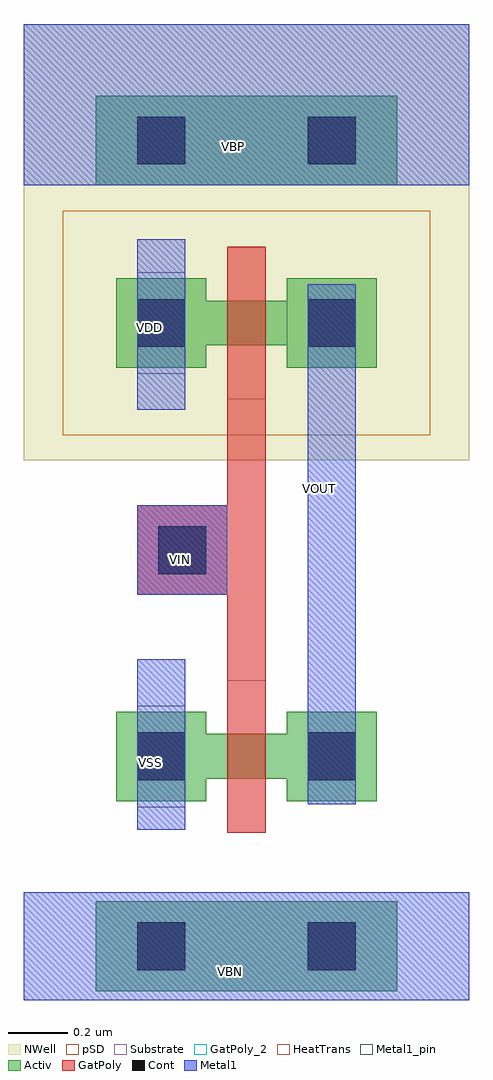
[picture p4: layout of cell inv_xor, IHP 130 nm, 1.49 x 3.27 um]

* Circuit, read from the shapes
.subckt inv_xor VBN VBP VDD VIN VOUT VSS
XM1 VOUT VIN VSS VBN sg13_lv_nmos w=0.15u l=0.13u
XM2 VOUT VIN VDD VBP sg13_lv_pmos w=0.15u l=0.13u
.ends

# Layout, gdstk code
import gdstk
lib = gdstk.Library(unit=1e-6, precision=5e-09)
def R(c, l, rs):  # rectangles x0, y0, x1, y1
    for r in rs: c.add(gdstk.rectangle(r[:2], r[2:], *l))
Activ = (1, 0)
GatPoly = (5, 0)
GatPoly_2 = (5, 2)
Cont = (6, 0)
Metal1 = (8, 0)
Metal1_pin = (8, 2)
pSD = (14, 0)
NWell = (31, 0)
Substrate = (40, 0)
HeatTrans = (51, 0)

nmos_4_9 = lib.new_cell('nmos$4$9')
R(nmos_4_9, Activ, [(0,0,0.3,0.3), (0.57,0,0.87,0.3), (0,0.075,0.87,0.225)])
R(nmos_4_9, GatPoly, [(0.37,-0.105,0.5,0.405)])
R(nmos_4_9, GatPoly_2, [(0.37,-0.105,0.5,0.405)])
R(nmos_4_9, Cont, [(0.07,0.07,0.23,0.23), (0.64,0.07,0.8,0.23)])
R(nmos_4_9, Metal1, [(0.07,0.02,0.23,0.28), (0.64,0.02,0.8,0.28)])
R(nmos_4_9, Metal1_pin, [(0.07,0.02,0.23,0.28), (0.64,0.02,0.8,0.28)])
R(nmos_4_9, HeatTrans, [(0.37,-0.105,0.5,0.405)])
nmos_4_9.add(gdstk.Label('nmos', (0.435,0.15), layer=63, texttype=0))
nmos_4_9.add(gdstk.Label('nmos', (0.435,0.15), layer=51, texttype=0))

pmos_3_1_1 = lib.new_cell('pmos$3$1$1')
R(pmos_3_1_1, Activ, [(0,0,0.3,0.3), (0.57,0,0.87,0.3), (0,0.075,0.87,0.225)])
R(pmos_3_1_1, GatPoly, [(0.37,-0.105,0.5,0.405), (0.37,-0.105,0.5,0.405)])
R(pmos_3_1_1, Cont, [(0.07,0.07,0.23,0.23), (0.64,0.07,0.8,0.23)])
R(pmos_3_1_1, Metal1, [(0.07,0.02,0.23,0.28), (0.07,0.02,0.23,0.28), (0.64,0.02,0.8,0.28), (0.64,0.02,0.8,0.28)])
R(pmos_3_1_1, pSD, [(-0.18,-0.225,1.05,0.525)])
R(pmos_3_1_1, NWell, [(-0.31,-0.31,1.18,0.61)])
R(pmos_3_1_1, Substrate, [(0.57,0,0.87,0.3)])
R(pmos_3_1_1, HeatTrans, [(0.37,-0.105,0.5,0.405)])
pmos_3_1_1.add(gdstk.Label('pmos', (0.435,0.15), layer=63, texttype=0))
pmos_3_1_1.add(gdstk.Label('pmos', (0.435,0.15), layer=51, texttype=0))

inv_xor = lib.new_cell('inv_xor')
R(inv_xor, Activ, [(1.29,-0.04,2.3,0.26), (1.29,-0.04,2.3,0.26), (1.29,-0.04,2.3,0.26), (1.29,-0.04,2.3,0.26), (1.29,2.655,2.3,2.955), (1.29,2.655,2.3,2.955), (1.29,2.655,2.3,2.955), (1.29,2.655,2.3,2.955)])
R(inv_xor, GatPoly, [(1.73,0.49,1.86,2.45), (1.73,0.49,1.86,2.45), (1.73,0.49,1.86,2.45), (1.73,0.49,1.86,2.45), (1.43,1.285,1.73,1.585), (1.43,1.285,1.73,1.585), (1.43,1.285,1.73,1.585), (1.43,1.285,1.73,1.585)])
R(inv_xor, Cont, [(1.43,0.03,1.59,0.19), (1.43,0.03,1.59,0.19), (1.43,0.03,1.59,0.19), (1.43,0.03,1.59,0.19), (2,0.03,2.16,0.19), (2,0.03,2.16,0.19), (2,0.03,2.16,0.19), (2,0.03,2.16,0.19), (1.5,1.355,1.66,1.515), (1.5,1.355,1.66,1.515), (1.5,1.355,1.66,1.515), (1.5,1.355,1.66,1.515), (1.43,2.725,1.59,2.885), (1.43,2.725,1.59,2.885), (1.43,2.725,1.59,2.885), (1.43,2.725,1.59,2.885), (2,2.725,2.16,2.885), (2,2.725,2.16,2.885), (2,2.725,2.16,2.885), (2,2.725,2.16,2.885)])
R(inv_xor, Metal1, [(1.05,-0.07,2.54,0.29), (1.05,-0.07,2.54,0.29), (1.05,-0.07,2.54,0.29), (1.05,-0.07,2.54,0.29), (1.43,0.5,1.59,1.07), (1.43,0.5,1.59,1.07), (1.43,0.5,1.59,1.07), (1.43,0.5,1.59,1.07), (2,0.585,2.16,2.325), (2,0.585,2.16,2.325), (2,0.615,2.16,2.325), (2,0.615,2.16,2.325), (1.43,1.285,1.73,1.585), (1.43,1.285,1.73,1.585), (1.43,1.285,1.73,1.585), (1.43,1.285,1.73,1.585), (1.43,1.905,1.59,2.475), (1.43,1.905,1.59,2.475), (1.43,1.905,1.59,2.475), (1.43,1.905,1.59,2.475), (1.05,2.655,2.54,3.195), (1.05,2.655,2.54,3.195), (1.05,2.655,2.54,3.195), (1.05,2.655,2.54,3.195)])
R(inv_xor, Metal1_pin, [(1.05,-0.07,2.54,0.29), (1.05,-0.07,2.54,0.29), (1.05,-0.07,2.54,0.29), (1.05,-0.07,2.54,0.29), (1.43,0.575,1.59,0.915), (1.43,0.575,1.59,0.915), (1.43,0.575,1.59,0.915), (1.43,0.575,1.59,0.915), (2,0.585,2.16,2.325), (2,0.585,2.16,2.325), (2,0.585,2.16,2.325), (2,0.585,2.16,2.325), (1.43,1.285,1.73,1.585), (1.43,1.285,1.73,1.585), (1.43,1.285,1.73,1.585), (1.43,1.285,1.73,1.585), (1.43,2.025,1.59,2.365), (1.43,2.025,1.59,2.365), (1.43,2.025,1.59,2.365), (1.43,2.025,1.59,2.365), (1.05,2.655,2.54,3.195), (1.05,2.655,2.54,3.195), (1.05,2.655,2.54,3.195), (1.05,2.655,2.54,3.195)])
R(inv_xor, pSD, [(1.05,-0.07,2.54,0.29), (1.05,-0.07,2.54,0.29), (1.05,-0.07,2.54,0.29), (1.05,-0.07,2.54,0.29)])
R(inv_xor, NWell, [(1.05,2.655,2.54,3.195), (1.05,2.655,2.54,3.195), (1.05,2.655,2.54,3.195), (1.05,2.655,2.54,3.195)])
inv_xor.add(gdstk.Reference(nmos_4_9, (1.36,0.595)))
inv_xor.add(gdstk.Reference(pmos_3_1_1, (1.36,2.045)))
inv_xor.add(gdstk.Label('VBN', (1.74,0.025), layer=8, texttype=25))
inv_xor.add(gdstk.Label('VSS', (1.475,0.725), layer=8, texttype=25))
inv_xor.add(gdstk.Label('VBN', (1.74,0.025), layer=8, texttype=25))
inv_xor.add(gdstk.Label('VSS', (1.475,0.725), layer=8, texttype=25))
inv_xor.add(gdstk.Label('VIN', (1.575,1.405), layer=8, texttype=25))
inv_xor.add(gdstk.Label('VOUT', (2.04,1.64), layer=8, texttype=25))
inv_xor.add(gdstk.Label('VDD', (1.47,2.18), layer=8, texttype=25))
inv_xor.add(gdstk.Label('VBP', (1.75,2.785), layer=8, texttype=25))
inv_xor.add(gdstk.Label('VIN', (1.575,1.405), layer=8, texttype=25))
inv_xor.add(gdstk.Label('VOUT', (2.04,1.64), layer=8, texttype=25))
inv_xor.add(gdstk.Label('VDD', (1.47,2.18), layer=8, texttype=25))
inv_xor.add(gdstk.Label('VBP', (1.75,2.785), layer=8, texttype=25))
inv_xor.add(gdstk.Label('VBN', (1.74,0.025), layer=8, texttype=25))
inv_xor.add(gdstk.Label('VSS', (1.475,0.725), layer=8, texttype=25))
inv_xor.add(gdstk.Label('VBN', (1.74,0.025), layer=8, texttype=25))
inv_xor.add(gdstk.Label('VSS', (1.475,0.725), layer=8, texttype=25))
inv_xor.add(gdstk.Label('VIN', (1.575,1.405), layer=8, texttype=25))
inv_xor.add(gdstk.Label('VOUT', (2.04,1.64), layer=8, texttype=25))
inv_xor.add(gdstk.Label('VDD', (1.47,2.18), layer=8, texttype=25))
inv_xor.add(gdstk.Label('VBP', (1.75,2.785), layer=8, texttype=25))
inv_xor.add(gdstk.Label('VIN', (1.575,1.405), layer=8, texttype=25))
inv_xor.add(gdstk.Label('VOUT', (2.04,1.64), layer=8, texttype=25))
inv_xor.add(gdstk.Label('VDD', (1.47,2.18), layer=8, texttype=25))
inv_xor.add(gdstk.Label('VBP', (1.75,2.785), layer=8, texttype=25))

lib.write_gds('inv_xor.gds')
